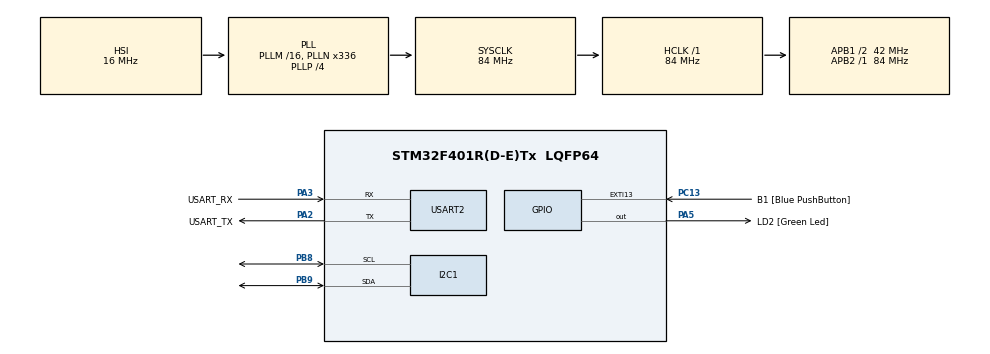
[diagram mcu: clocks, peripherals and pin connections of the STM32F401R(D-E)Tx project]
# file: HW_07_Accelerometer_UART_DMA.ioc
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Dma.Request0=USART2_TX
Dma.USART2_TX.0.Direction=DMA_MEMORY_TO_PERIPH
Dma.USART2_TX.0.FIFOMode=DMA_FIFOMODE_DISABLE
Dma.USART2_TX.0.Instance=DMA1_Stream6
Dma.USART2_TX.0.MemDataAlignment=DMA_MDATAALIGN_BYTE
Dma.USART2_TX.0.MemInc=DMA_MINC_ENABLE
Dma.USART2_TX.0.Mode=DMA_NORMAL
Dma.USART2_TX.0.PeriphDataAlignment=DMA_PDATAALIGN_BYTE
Dma.USART2_TX.0.PeriphInc=DMA_PINC_DISABLE
Dma.USART2_TX.0.Priority=DMA_PRIORITY_LOW
Mcu.Family=STM32F4
Mcu.Name=STM32F401R(D-E)Tx
Mcu.Package=LQFP64
NVIC.DMA1_Stream6_IRQn=true\:0\:0\:false\:false\:true\:false\:true\:true
NVIC.PriorityGroup=NVIC_PRIORITYGROUP_0
NVIC.TIM2_IRQn=true\:0\:0\:false\:false\:true\:true\:true\:true
NVIC.USART2_IRQn=true\:0\:0\:false\:false\:true\:true\:true\:true
PA13.GPIO_Label=TMS
PA13.Mode=Serial_Wire
PA13.Signal=SYS_JTMS-SWDIO
PA14.GPIO_Label=TCK
PA14.Mode=Serial_Wire
PA14.Signal=SYS_JTCK-SWCLK
PA2.GPIO_Label=USART_TX
PA2.GPIO_Mode=GPIO_MODE_AF_PP
PA2.GPIO_PuPd=GPIO_NOPULL
PA2.GPIO_Speed=GPIO_SPEED_FREQ_LOW
PA2.Mode=Asynchronous
PA2.Signal=USART2_TX
PA3.GPIO_Label=USART_RX
PA3.GPIO_Mode=GPIO_MODE_AF_PP
PA3.GPIO_PuPd=GPIO_NOPULL
PA3.GPIO_Speed=GPIO_SPEED_FREQ_LOW
PA3.Mode=Asynchronous
PA3.Signal=USART2_RX
PA5.GPIO_Label=LD2 [Green Led]
PA5.GPIO_Mode=GPIO_MODE_OUTPUT_PP
PA5.GPIO_PuPd=GPIO_NOPULL
PA5.GPIO_Speed=GPIO_SPEED_FREQ_LOW
PA5.Signal=GPIO_Output
PB3.GPIO_Label=SWO
PB3.Signal=SYS_JTDO-SWO
PB8.Mode=I2C
PB8.Signal=I2C1_SCL
PB9.Mode=I2C
PB9.Signal=I2C1_SDA
PC13-ANTI_TAMP.GPIO_Label=B1 [Blue PushButton]
PC13-ANTI_TAMP.GPIO_ModeDefaultEXTI=GPIO_MODE_IT_FALLING
PC13-ANTI_TAMP.GPIO_PuPd=GPIO_NOPULL
PC13-ANTI_TAMP.Signal=GPXTI13
PC14-OSC32_IN.Mode=LSE-External-Oscillator
PC14-OSC32_IN.Signal=RCC_OSC32_IN
PC15-OSC32_OUT.Mode=LSE-External-Oscillator
PC15-OSC32_OUT.Signal=RCC_OSC32_OUT
PH0\ -\ OSC_IN.Mode=HSE-External-Clock-Source
PH0\ -\ OSC_IN.Signal=RCC_OSC_IN
PH1\ -\ OSC_OUT.Mode=HSE-External-Clock-Source
PH1\ -\ OSC_OUT.Signal=RCC_OSC_OUT
ProjectManager.HeapSize=0x200
ProjectManager.StackSize=0x400
ProjectManager.TargetToolchain=STM32CubeIDE
RCC.48MHZClocksFreq_Value=48000000
RCC.AHBFreq_Value=84000000
RCC.APB1CLKDivider=RCC_HCLK_DIV2
RCC.APB1Freq_Value=42000000
RCC.APB1TimFreq_Value=84000000
RCC.APB2Freq_Value=84000000
RCC.APB2TimFreq_Value=84000000
RCC.CortexFreq_Value=84000000
RCC.HCLKFreq_Value=84000000
RCC.HSE_VALUE=8000000
RCC.HSI_VALUE=16000000
RCC.PLLN=336
RCC.PLLP=RCC_PLLP_DIV4
RCC.PLLQ=7
RCC.SYSCLKFreq_VALUE=84000000
RCC.SYSCLKSource=RCC_SYSCLKSOURCE_PLLCLK
RCC.VCOOutputFreq_Value=336000000
TIM2.Period=84000-1
TIM2.Prescaler=1000-1
USART2.VirtualMode=VM_ASYNC
VP_TIM2_VS_ClockSourceINT.Mode=Internal
board=NUCLEO-F401RE

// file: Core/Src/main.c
/* USER CODE BEGIN Header */
/**
 ******************************************************************************
 * @file           : main.c
 * @brief          : Main program body
 ******************************************************************************
 * @attention
 *
 * Copyright (c) 2022 STMicroelectronics.
 * All rights reserved.
 *
 * This software is licensed under terms that can be found in the LICENSE file
 * in the root directory of this software component.
 * If no LICENSE file comes with this software, it is provided AS-IS.
 *
 ******************************************************************************
 */
/* USER CODE END Header */
#include "main.h"

/* USER CODE BEGIN Includes */
#include <stdio.h>
/* USER CODE END Includes */

I2C_HandleTypeDef hi2c1;

TIM_HandleTypeDef htim2;

UART_HandleTypeDef huart2;
DMA_HandleTypeDef hdma_usart2_tx;

void SystemClock_Config(void);
static void MX_GPIO_Init(void);
static void MX_DMA_Init(void);
static void MX_USART2_UART_Init(void);
static void MX_TIM2_Init(void);
static void MX_I2C1_Init(void);

/* USER CODE BEGIN 0 */
int timer_flag = 0;
void HAL_TIM_PeriodElapsedCallback(TIM_HandleTypeDef *htim) {
	if (timer_flag == 0)
		timer_flag = 1;
}
/* USER CODE END 0 */

int main(void) {

	/* MCU Configuration--------------------------------------------------------*/

	/* Reset of all peripherals, Initializes the Flash interface and the Systick. */
	HAL_Init();

	/* Configure the system clock */
	SystemClock_Config();

	/* Initialize all configured peripherals */
	MX_GPIO_Init();
	MX_DMA_Init();
	MX_USART2_UART_Init();
	MX_TIM2_Init();
	MX_I2C1_Init();
	/* USER CODE BEGIN 2 */

	HAL_TIM_Base_Start_IT(&htim2);

	// possible accelerometer versions
	uint8_t accelerometer_lis2de = 0b01010000;
	uint8_t accelerometer_lis2de12 = 0b00110000;

	uint8_t control_reg1[] = { 0b00100000, 0b00010111 }; // normal mode, 1hz sample rate
	uint8_t control_reg2[] = { 0b00100001, 0b00000000 }; // no high pass filtering
	uint8_t control_reg4[] = { 0b00100011, 0b00000000 }; // +-2g accelerations
	uint8_t who_am_i[] = { 0b00001111, 0b00110011 }; // used for checking device presence

	uint8_t out_x = 0x29, out_y = 0x2B, out_z = 0x2D; // addresses of x,y,z accelerations
	uint8_t accelerometer; // accelerometer address

	char buffer[128];
	int len;

	// enabling normal mode (1Hz) and enabling X,Y,Z outputs
	if (HAL_I2C_Master_Transmit(&hi2c1, accelerometer_lis2de12, who_am_i, 2, 100) == HAL_OK) {
		len = snprintf(buffer, sizeof(buffer), "LIS2DE12 found\r\n");
		accelerometer = accelerometer_lis2de12;
	} else if (HAL_I2C_Master_Transmit(&hi2c1, accelerometer_lis2de, who_am_i, 2, 100) == HAL_OK) {
		len = snprintf(buffer, sizeof(buffer), "LIS2DE found\r\n");
		accelerometer = accelerometer_lis2de;
	} else {
		len = snprintf(buffer, sizeof(buffer), "Accelerometer error\r\n");
		return 0;
	}

	// send device info via UART
	HAL_UART_Transmit_DMA(&huart2, (uint8_t*) buffer, len);

	// normal mode selection, 1 hz sampling rate
	HAL_I2C_Master_Transmit(&hi2c1, accelerometer, control_reg1, 2, 100);
	// no high pass filtering
	HAL_I2C_Master_Transmit(&hi2c1, accelerometer, control_reg2, 2, 100);
	// setting the +/- 2g full scale range in normal mode
	HAL_I2C_Master_Transmit(&hi2c1, accelerometer, control_reg4, 2, 100);

	/* USER CODE END 2 */

	/* Infinite loop */
	/* USER CODE BEGIN WHILE */
	while (1) {
		// every 1 second, reads accelerometer values
		if (timer_flag == 1) {
			int8_t acc_x = 0;
			HAL_I2C_Master_Transmit(&hi2c1, accelerometer, &out_x, 1, 100);
			HAL_I2C_Master_Receive(&hi2c1, accelerometer | 1, (uint8_t*) &acc_x, 1, 100);
			float acc_g_x = acc_x / 64.0;

			int8_t acc_y = 0;
			HAL_I2C_Master_Transmit(&hi2c1, accelerometer, &out_y, 1, 100);
			HAL_I2C_Master_Receive(&hi2c1, accelerometer | 1, (uint8_t*) &acc_y, 1, 100);
			float acc_g_y = acc_y / 64.0;

			int8_t acc_z = 0;
			HAL_I2C_Master_Transmit(&hi2c1, accelerometer, &out_z, 1, 100);
			HAL_I2C_Master_Receive(&hi2c1, accelerometer | 1, (uint8_t*) &acc_z, 1, 100);
			float acc_g_z = acc_z / 64.0;

			len = snprintf(buffer, sizeof(buffer), "X= %+.3f g \r\nY= %+.3f g \r\nZ= %+.3f g \r\n", acc_g_x, acc_g_y, acc_g_z);
			HAL_UART_Transmit_DMA(&huart2, (uint8_t*) buffer, len);

			timer_flag = 0;
		}

		/* USER CODE END WHILE */

	}
}

void SystemClock_Config(void) {
	RCC_OscInitTypeDef RCC_OscInitStruct = { 0 };
	RCC_ClkInitTypeDef RCC_ClkInitStruct = { 0 };

	/** Configure the main internal regulator output voltage
	 */
	__HAL_RCC_PWR_CLK_ENABLE();
	__HAL_PWR_VOLTAGESCALING_CONFIG(PWR_REGULATOR_VOLTAGE_SCALE2);

	/** Initializes the RCC Oscillators according to the specified parameters
	 * in the RCC_OscInitTypeDef structure.
	 */
	RCC_OscInitStruct.OscillatorType = RCC_OSCILLATORTYPE_HSI;
	RCC_OscInitStruct.HSIState = RCC_HSI_ON;
	RCC_OscInitStruct.HSICalibrationValue = RCC_HSICALIBRATION_DEFAULT;
	RCC_OscInitStruct.PLL.PLLState = RCC_PLL_ON;
	RCC_OscInitStruct.PLL.PLLSource = RCC_PLLSOURCE_HSI;
	RCC_OscInitStruct.PLL.PLLM = 16;
	RCC_OscInitStruct.PLL.PLLN = 336;
	RCC_OscInitStruct.PLL.PLLP = RCC_PLLP_DIV4;
	RCC_OscInitStruct.PLL.PLLQ = 7;
	if (HAL_RCC_OscConfig(&RCC_OscInitStruct) != HAL_OK) {
		Error_Handler();
	}

	/** Initializes the CPU, AHB and APB buses clocks
	 */
	RCC_ClkInitStruct.ClockType = RCC_CLOCKTYPE_HCLK | RCC_CLOCKTYPE_SYSCLK | RCC_CLOCKTYPE_PCLK1 | RCC_CLOCKTYPE_PCLK2;
	RCC_ClkInitStruct.SYSCLKSource = RCC_SYSCLKSOURCE_PLLCLK;
	RCC_ClkInitStruct.AHBCLKDivider = RCC_SYSCLK_DIV1;
	RCC_ClkInitStruct.APB1CLKDivider = RCC_HCLK_DIV2;
	RCC_ClkInitStruct.APB2CLKDivider = RCC_HCLK_DIV1;

	if (HAL_RCC_ClockConfig(&RCC_ClkInitStruct, FLASH_LATENCY_2) != HAL_OK) {
		Error_Handler();
	}
}

static void MX_I2C1_Init(void) {

	hi2c1.Instance = I2C1;
	hi2c1.Init.ClockSpeed = 100000;
	hi2c1.Init.DutyCycle = I2C_DUTYCYCLE_2;
	hi2c1.Init.OwnAddress1 = 0;
	hi2c1.Init.AddressingMode = I2C_ADDRESSINGMODE_7BIT;
	hi2c1.Init.DualAddressMode = I2C_DUALADDRESS_DISABLE;
	hi2c1.Init.OwnAddress2 = 0;
	hi2c1.Init.GeneralCallMode = I2C_GENERALCALL_DISABLE;
	hi2c1.Init.NoStretchMode = I2C_NOSTRETCH_DISABLE;
	if (HAL_I2C_Init(&hi2c1) != HAL_OK) {
		Error_Handler();
	}

}

static void MX_TIM2_Init(void) {

	TIM_ClockConfigTypeDef sClockSourceConfig = { 0 };
	TIM_MasterConfigTypeDef sMasterConfig = { 0 };

	htim2.Instance = TIM2;
	htim2.Init.Prescaler = 1000 - 1;
	htim2.Init.CounterMode = TIM_COUNTERMODE_UP;
	htim2.Init.Period = 84000 - 1;
	htim2.Init.ClockDivision = TIM_CLOCKDIVISION_DIV1;
	htim2.Init.AutoReloadPreload = TIM_AUTORELOAD_PRELOAD_DISABLE;
	if (HAL_TIM_Base_Init(&htim2) != HAL_OK) {
		Error_Handler();
	}
	sClockSourceConfig.ClockSource = TIM_CLOCKSOURCE_INTERNAL;
	if (HAL_TIM_ConfigClockSource(&htim2, &sClockSourceConfig) != HAL_OK) {
		Error_Handler();
	}
	sMasterConfig.MasterOutputTrigger = TIM_TRGO_RESET;
	sMasterConfig.MasterSlaveMode = TIM_MASTERSLAVEMODE_DISABLE;
	if (HAL_TIMEx_MasterConfigSynchronization(&htim2, &sMasterConfig) != HAL_OK) {
		Error_Handler();
	}

}

static void MX_USART2_UART_Init(void) {

	huart2.Instance = USART2;
	huart2.Init.BaudRate = 115200;
	huart2.Init.WordLength = UART_WORDLENGTH_8B;
	huart2.Init.StopBits = UART_STOPBITS_1;
	huart2.Init.Parity = UART_PARITY_NONE;
	huart2.Init.Mode = UART_MODE_TX_RX;
	huart2.Init.HwFlowCtl = UART_HWCONTROL_NONE;
	huart2.Init.OverSampling = UART_OVERSAMPLING_16;
	if (HAL_UART_Init(&huart2) != HAL_OK) {
		Error_Handler();
	}

}

static void MX_DMA_Init(void) {

	/* DMA controller clock enable */
	__HAL_RCC_DMA1_CLK_ENABLE();

	/* DMA interrupt init */
	/* DMA1_Stream6_IRQn interrupt configuration */
	HAL_NVIC_SetPriority(DMA1_Stream6_IRQn, 0, 0);
	HAL_NVIC_EnableIRQ(DMA1_Stream6_IRQn);

}

static void MX_GPIO_Init(void) {
	GPIO_InitTypeDef GPIO_InitStruct = { 0 };

	/* GPIO Ports Clock Enable */
	__HAL_RCC_GPIOC_CLK_ENABLE();
	__HAL_RCC_GPIOH_CLK_ENABLE();
	__HAL_RCC_GPIOA_CLK_ENABLE();
	__HAL_RCC_GPIOB_CLK_ENABLE();

	/*Configure GPIO pin Output Level */
	HAL_GPIO_WritePin(LD2_GPIO_Port, LD2_Pin, GPIO_PIN_RESET);

	/*Configure GPIO pin : B1_Pin */
	GPIO_InitStruct.Pin = B1_Pin;
	GPIO_InitStruct.Mode = GPIO_MODE_IT_FALLING;
	GPIO_InitStruct.Pull = GPIO_NOPULL;
	HAL_GPIO_Init(B1_GPIO_Port, &GPIO_InitStruct);

	/*Configure GPIO pin : LD2_Pin */
	GPIO_InitStruct.Pin = LD2_Pin;
	GPIO_InitStruct.Mode = GPIO_MODE_OUTPUT_PP;
	GPIO_InitStruct.Pull = GPIO_NOPULL;
	GPIO_InitStruct.Speed = GPIO_SPEED_FREQ_LOW;
	HAL_GPIO_Init(LD2_GPIO_Port, &GPIO_InitStruct);

}

void Error_Handler(void) {
	__disable_irq();
	while (1) {
	}
}
